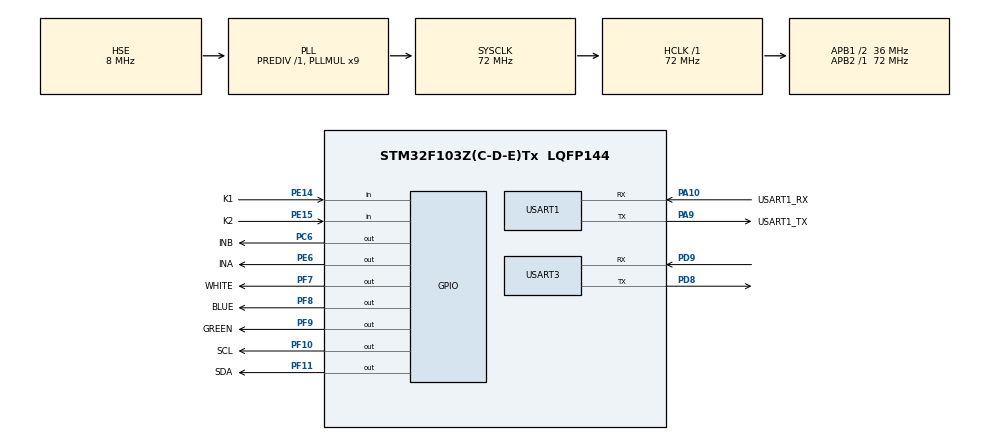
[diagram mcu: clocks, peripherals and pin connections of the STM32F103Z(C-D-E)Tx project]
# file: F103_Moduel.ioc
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FREERTOS.Tasks01=defaultTask,24,128,StartDefaultTask,Default,NULL,Dynamic,NULL,NULL
Mcu.Family=STM32F1
Mcu.Name=STM32F103Z(C-D-E)Tx
Mcu.Package=LQFP144
NVIC.PriorityGroup=NVIC_PRIORITYGROUP_4
NVIC.TIM8_UP_IRQn=true\:15\:0\:false\:false\:true\:false\:false\:true
NVIC.TimeBase=TIM8_UP_IRQn
NVIC.TimeBaseIP=TIM8
NVIC.USART3_IRQn=true\:5\:0\:false\:false\:true\:true\:true\:true
OSC_IN.Mode=HSE-External-Oscillator
OSC_IN.Signal=RCC_OSC_IN
OSC_OUT.Mode=HSE-External-Oscillator
OSC_OUT.Signal=RCC_OSC_OUT
PA10.GPIO_Label=USART1_RX
PA10.GPIO_PuPd=GPIO_PULLUP
PA10.Mode=Asynchronous
PA10.Signal=USART1_RX
PA13.Mode=Serial_Wire
PA13.Signal=SYS_JTMS-SWDIO
PA14.Mode=Serial_Wire
PA14.Signal=SYS_JTCK-SWCLK
PA9.GPIO_Label=USART1_TX
PA9.Mode=Asynchronous
PA9.Signal=USART1_TX
PC14-OSC32_IN.Mode=LSE-External-Oscillator
PC14-OSC32_IN.Signal=RCC_OSC32_IN
PC15-OSC32_OUT.Mode=LSE-External-Oscillator
PC15-OSC32_OUT.Signal=RCC_OSC32_OUT
PC6.GPIO_Label=INB
PC6.GPIO_PuPd=GPIO_PULLUP
PC6.GPIO_Speed=GPIO_SPEED_FREQ_HIGH
PC6.PinState=GPIO_PIN_SET
PC6.Signal=GPIO_Output
PD8.Mode=Asynchronous
PD8.Signal=USART3_TX
PD9.Mode=Asynchronous
PD9.Signal=USART3_RX
PE14.GPIO_Label=K1
PE14.GPIO_PuPd=GPIO_PULLUP
PE14.Signal=GPIO_Input
PE15.GPIO_Label=K2
PE15.GPIO_PuPd=GPIO_PULLUP
PE15.Signal=GPIO_Input
PE6.GPIO_Label=INA
PE6.GPIO_PuPd=GPIO_PULLUP
PE6.GPIO_Speed=GPIO_SPEED_FREQ_HIGH
PE6.PinState=GPIO_PIN_SET
PE6.Signal=GPIO_Output
PF10.GPIO_Label=SCL
PF10.GPIO_PuPd=GPIO_PULLUP
PF10.GPIO_Speed=GPIO_SPEED_FREQ_HIGH
PF10.PinState=GPIO_PIN_SET
PF10.Signal=GPIO_Output
PF11.GPIO_Label=SDA
PF11.GPIO_PuPd=GPIO_PULLUP
PF11.GPIO_Speed=GPIO_SPEED_FREQ_HIGH
PF11.PinState=GPIO_PIN_SET
PF11.Signal=GPIO_Output
PF7.GPIO_Label=WHITE
PF7.GPIO_ModeDefaultOutputPP=GPIO_MODE_OUTPUT_PP
PF7.GPIO_PuPd=GPIO_PULLUP
PF7.GPIO_Speed=GPIO_SPEED_FREQ_HIGH
PF7.PinState=GPIO_PIN_SET
PF7.Signal=GPIO_Output
PF8.GPIO_Label=BLUE
PF8.GPIO_PuPd=GPIO_PULLUP
PF8.GPIO_Speed=GPIO_SPEED_FREQ_HIGH
PF8.PinState=GPIO_PIN_SET
PF8.Signal=GPIO_Output
PF9.GPIO_Label=GREEN
PF9.GPIO_PuPd=GPIO_PULLUP
PF9.GPIO_Speed=GPIO_SPEED_FREQ_HIGH
PF9.PinState=GPIO_PIN_SET
PF9.Signal=GPIO_Output
ProjectManager.HeapSize=0x200
ProjectManager.StackSize=0x400
ProjectManager.TargetToolchain=MDK-ARM V5.32
RCC.AHBFreq_Value=72000000
RCC.APB1CLKDivider=RCC_HCLK_DIV2
RCC.APB1Freq_Value=36000000
RCC.APB1TimFreq_Value=72000000
RCC.APB2Freq_Value=72000000
RCC.APB2TimFreq_Value=72000000
RCC.HCLKFreq_Value=72000000
RCC.PLLMUL=RCC_PLL_MUL9
RCC.PLLSourceVirtual=RCC_PLLSOURCE_HSE
RCC.SYSCLKFreq_VALUE=72000000
RCC.SYSCLKSource=RCC_SYSCLKSOURCE_PLLCLK
RCC.USBFreq_Value=72000000
USART1.VirtualMode=VM_ASYNC
USART3.VirtualMode=VM_ASYNC
VP_FREERTOS_VS_CMSIS_V2.Mode=CMSIS_V2
VP_SYS_VS_tim8.Mode=TIM8
board=custom

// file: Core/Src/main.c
/* USER CODE BEGIN Header */
/**
  ******************************************************************************
  * @file           : main.c
  * @brief          : Main program body
  ******************************************************************************
  * @attention
  *
  * <h2><center>&copy; Copyright (c) 2021 STMicroelectronics.
  * All rights reserved.</center></h2>
  *
  * This software component is licensed by ST under BSD 3-Clause license,
  * the "License"; You may not use this file except in compliance with the
  * License. You may obtain a copy of the License at:
  *                        opensource.org/licenses/BSD-3-Clause
  *
  ******************************************************************************
  */
/* USER CODE END Header */
#include "main.h"
#include "cmsis_os.h"
#include "usart.h"
#include "gpio.h"
#include <smarthome.h>
#include <task.h>

#include "mqtt_test1.h"

/* USER CODE BEGIN Includes */
#include "driver_usart.h"
#include "driver_key.h"
#include <stdio.h>
/* USER CODE END Includes */

void SystemClock_Config(void);
void MX_FREERTOS_Init(void);

/* USER CODE BEGIN 0 */

ring_buffer test_buffer;
extern TaskHandle_t xRecvTask;
extern TaskHandle_t xDHT11Task;

/* USER CODE END 0 */

int main(void)
{

  /* MCU Configuration--------------------------------------------------------*/

  /* Reset of all peripherals, Initializes the Flash interface and the Systick. */
  HAL_Init();

  /* Configure the system clock */
  SystemClock_Config();

  /* Initialize all configured peripherals */
  MX_GPIO_Init();
  MX_USART1_UART_Init();
  MX_USART3_UART_Init();
  /* USER CODE BEGIN 2 */

	//KEY_GPIO_ReInit();

    ring_buffer_init(&test_buffer);

    //EnableDebugIRQ();
    EnableUART3IRQ();
    printf("Hello World!\r\n");

#if 0
	while (1)
	{
		SmartHomeTask();
	}
#endif

  /* USER CODE END 2 */

  /* Init scheduler */
  osKernelInitialize();  /* Call init function for freertos objects (in freertos.c) */
  MX_FREERTOS_Init();

//	xTaskCreate(SmartHomeTask, "smarthome", 200, NULL, osPriorityNormal, NULL);
//	xTaskCreate(DHT11_UpdateValue, "dht11task", 200, NULL, osPriorityNormal, &xDHT11Task);
//	xTaskCreate(DisplayNetTimeInfo, "sntptime", 200, NULL, osPriorityNormal, &xRecvTask);

	xTaskCreate(mqtt_test1, "mqtttest", 1000, NULL, osPriorityNormal, NULL);

  /* Start scheduler */
  osKernelStart();

  /* We should never get here as control is now taken by the scheduler */
  /* Infinite loop */
  while (1)
  {

  }
}

void SystemClock_Config(void)
{
  RCC_OscInitTypeDef RCC_OscInitStruct = {0};
  RCC_ClkInitTypeDef RCC_ClkInitStruct = {0};

  /** Initializes the RCC Oscillators according to the specified parameters
  * in the RCC_OscInitTypeDef structure.
  */
  RCC_OscInitStruct.OscillatorType = RCC_OSCILLATORTYPE_HSE;
  RCC_OscInitStruct.HSEState = RCC_HSE_ON;
  RCC_OscInitStruct.HSEPredivValue = RCC_HSE_PREDIV_DIV1;
  RCC_OscInitStruct.HSIState = RCC_HSI_ON;
  RCC_OscInitStruct.PLL.PLLState = RCC_PLL_ON;
  RCC_OscInitStruct.PLL.PLLSource = RCC_PLLSOURCE_HSE;
  RCC_OscInitStruct.PLL.PLLMUL = RCC_PLL_MUL9;
  if (HAL_RCC_OscConfig(&RCC_OscInitStruct) != HAL_OK)
  {
    Error_Handler();
  }
  /** Initializes the CPU, AHB and APB buses clocks
  */
  RCC_ClkInitStruct.ClockType = RCC_CLOCKTYPE_HCLK|RCC_CLOCKTYPE_SYSCLK
                              |RCC_CLOCKTYPE_PCLK1|RCC_CLOCKTYPE_PCLK2;
  RCC_ClkInitStruct.SYSCLKSource = RCC_SYSCLKSOURCE_PLLCLK;
  RCC_ClkInitStruct.AHBCLKDivider = RCC_SYSCLK_DIV1;
  RCC_ClkInitStruct.APB1CLKDivider = RCC_HCLK_DIV2;
  RCC_ClkInitStruct.APB2CLKDivider = RCC_HCLK_DIV1;

  if (HAL_RCC_ClockConfig(&RCC_ClkInitStruct, FLASH_LATENCY_2) != HAL_OK)
  {
    Error_Handler();
  }
}

void HAL_TIM_PeriodElapsedCallback(TIM_HandleTypeDef *htim)
{
  /* USER CODE BEGIN Callback 0 */
  extern void ProcessGPIOKeyTimer(void);

  /* USER CODE END Callback 0 */
  if (htim->Instance == TIM8) {
    HAL_IncTick();
  }
  /* USER CODE BEGIN Callback 1 */
  if (htim->Instance == TIM8) {
    ProcessGPIOKeyTimer();
  }

  /* USER CODE END Callback 1 */
}

void Error_Handler(void)
{
  __disable_irq();
  while (1)
  {
  }
}

/************************ (C) COPYRIGHT STMicroelectronics *****END OF FILE****/

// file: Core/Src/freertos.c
/* USER CODE BEGIN Header */
/**
  ******************************************************************************
  * File Name          : freertos.c
  * Description        : Code for freertos applications
  ******************************************************************************
  * @attention
  *
  * <h2><center>&copy; Copyright (c) 2024 STMicroelectronics.
  * All rights reserved.</center></h2>
  *
  * This software component is licensed by ST under Ultimate Liberty license
  * SLA0044, the "License"; You may not use this file except in compliance with
  * the License. You may obtain a copy of the License at:
  *                             www.st.com/SLA0044
  *
  ******************************************************************************
  */
/* USER CODE END Header */

#include "FreeRTOS.h"
#include "task.h"
#include "main.h"
#include "cmsis_os.h"

/* USER CODE BEGIN Includes */
#include <stdio.h>
/* USER CODE END Includes */

/* Definitions for defaultTask */
osThreadId_t defaultTaskHandle;
const osThreadAttr_t defaultTask_attributes = {
  .name = "defaultTask",
  .stack_size = 128 * 4,
  .priority = (osPriority_t) osPriorityNormal,
};

void StartDefaultTask(void *argument);

void MX_FREERTOS_Init(void); /* (MISRA C 2004 rule 8.1) */

void MX_FREERTOS_Init(void) {

  /* Create the thread(s) */
  /* creation of defaultTask */
  defaultTaskHandle = osThreadNew(StartDefaultTask, NULL, &defaultTask_attributes);

}

void StartDefaultTask(void *argument)
{
  /* USER CODE BEGIN StartDefaultTask */
	printf("Start Default Task.\r\n");
  /* Infinite loop */
  for(;;)
  {
    osDelay(1);
  }
  /* USER CODE END StartDefaultTask */
}

/************************ (C) COPYRIGHT STMicroelectronics *****END OF FILE****/
